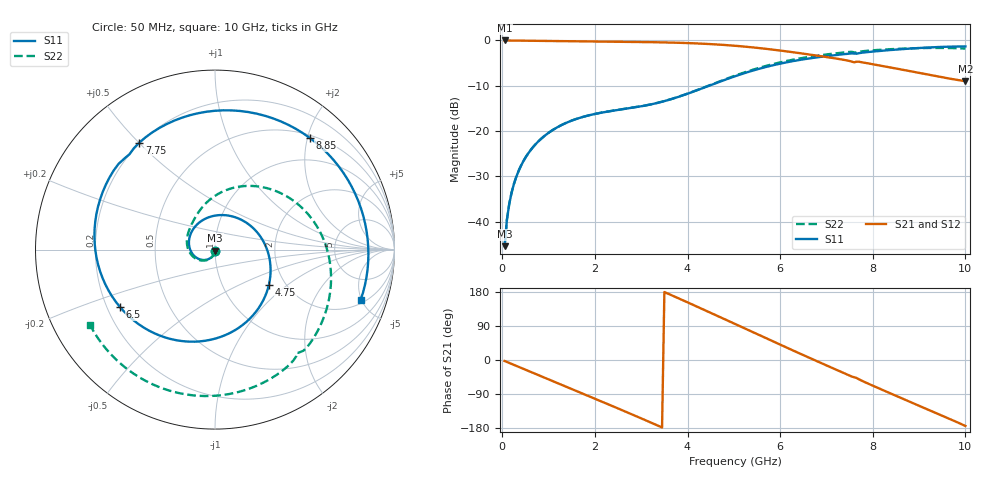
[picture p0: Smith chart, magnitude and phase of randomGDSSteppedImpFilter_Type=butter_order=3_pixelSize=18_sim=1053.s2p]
! freq	dB(S11)	phase(S11)	dB(S12)	phase(S12)
!  dB(S21)	phase(S21)	dB(S22)	phase(S22)
!S-par simulation data
#  GHz  S  DB  R 50
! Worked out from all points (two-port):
!   200 points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, 50 MHz to 10 GHz, reference 50 ohm
!   highest |S21| = 0.00 dB at 50 MHz (marker M1); lowest = -9.0 dB at 10 GHz (marker M2)
!   |S21| within 3 dB of the highest: start of sweep to 6.562 GHz
!   lowest |S11| = -45.4 dB at 50 MHz (marker M3), VSWR 1.01, Z = 50 - j0.536 ohm
!   |S11| at or under -10 dB: start of sweep to 4.464 GHz
!   |S22| runs from -45.4 to -1.6 dB; largest |S21 - S12| = 0
!   S11 on the Smith chart (normalised r, x): 50 MHz: 1.00, -0.01; 4.75 GHz: 1.65, -0.74; 6.5 GHz: 0.25, -0.26; 7.75 GHz: 0.20, +0.50; 8.85 GHz: 0.55, +2.04; 10 GHz: 2.29, -4.90
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0.05  -45.41 -90.1  -0.00 -2.6  -0.00 -2.6  -45.41 -90.0
0.1  -39.56 -93.8  -0.01 -5.2  -0.01 -5.2  -39.55 -93.5
0.2  -33.63 -100.1  -0.02 -10.3  -0.02 -10.3  -33.62 -99.5
0.5  -25.87 -116.8  -0.05 -25.6  -0.05 -25.6  -25.86 -115.4
1.15  -19.39 -152.1  -0.12 -58.8  -0.12 -58.8  -19.38 -147.5
1.75  -16.86 174.2  -0.19 -89.3  -0.19 -89.3  -16.84 -175.2
2.1  -16.02 153.3  -0.23 -107.2  -0.23 -107.2  -16.01 169.7
2.5  -15.35 127.8  -0.28 -127.9  -0.28 -127.9  -15.33 153.8
2.95  -14.63 96.8  -0.34 -151.4  -0.34 -151.4  -14.62 137.7
3.4  -13.66 63.8  -0.41 -175.3  -0.41 -175.3  -13.65 122.9
4  -11.77 19.4  -0.58 152.2  -0.58 152.2  -11.74 102.5
4.75  -8.90 -33.2  -0.97 110.5  -0.97 110.5  -8.81 72.4
5.05  -7.82 -53.3  -1.20 93.6  -1.20 93.6  -7.68 59.1
5.8  -5.59 -102.5  -1.98 51.6  -1.98 51.6  -5.34 24.8
6.5  -4.17 -148.8  -2.92 12.9  -2.92 12.9  -3.83 -6.0
6.7  -3.87 -162.2  -3.21 2.0  -3.21 2.0  -3.51 -14.4
7.25  -3.17 159.9  -4.06 -27.8  -4.06 -27.8  -2.79 -36.5
7.75  -2.73 125.2  -4.78 -54.0  -4.78 -54.0  -2.43 -54.6
8.35  -2.15 83.1  -5.91 -86.5  -5.91 -86.5  -1.95 -77.0
8.85  -1.77 49.8  -6.88 -112.8  -6.88 -112.8  -1.73 -95.9
9.45  -1.44 12.8  -8.04 -144.2  -8.04 -144.2  -1.65 -120.8
10  -1.32 -19.1  -8.99 -174.1  -8.99 -174.1  -1.80 -148.7
